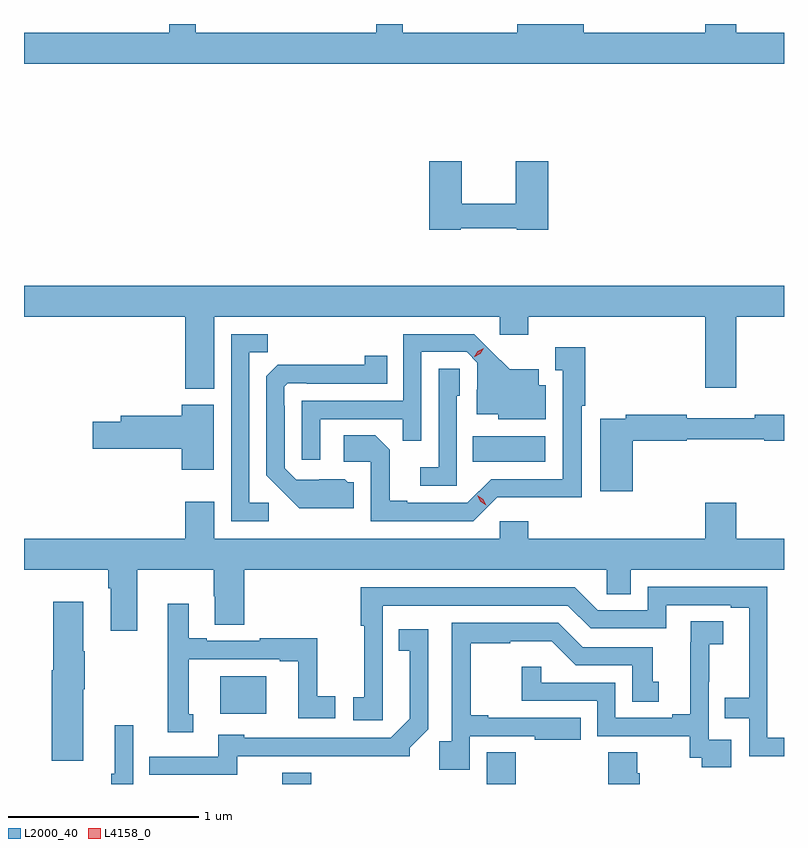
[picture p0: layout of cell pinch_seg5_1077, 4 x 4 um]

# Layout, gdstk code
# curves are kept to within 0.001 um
import gdstk
lib = gdstk.Library(unit=1e-6, precision=1e-09)
def R(c, l, rs):  # rectangles x0, y0, x1, y1
    for r in rs: c.add(gdstk.rectangle(r[:2], r[2:], *l))
def P(c, l, *ps):  # polygons
    for p in ps: c.add(gdstk.Polygon(p, *l))
L2000_40 = (2000, 40)
L4158_0 = (4158, 0)

pinch_seg5_1077 = lib.new_cell('pinch_seg5_1077')
R(pinch_seg5_1077, L2000_40, [(774.17,871.617,774.323,871.675), (775.247,871.617,775.4,871.784), (773.843,871.988,774.085,872.185), (775.174,873.314,775.555,873.448)])
P(pinch_seg5_1077, L2000_40, [(776.811,875.572),(776.56,875.572),(776.56,875.617),(776.396,875.617),(776.396,875.572),(775.756,875.572),(775.756,875.617),(775.406,875.617),(775.406,875.572),(774.805,875.572),(774.805,875.617),(774.665,875.617),(774.665,875.572),(773.715,875.572),(773.715,875.617),(773.576,875.617),(773.576,875.572),(772.811,875.572),(772.811,875.408),(776.811,875.408)],
  [(775.11,874.542),(775.404,874.542),(775.404,874.534),(775.571,874.534),(775.571,874.894),(775.4,874.894),(775.4,874.67),(775.114,874.67),(775.114,874.894),(774.944,874.894),(774.944,874.534),(775.11,874.534)],
  [(773.812,874.076),(775.314,874.076),(775.314,873.981),(775.466,873.981),(775.466,874.076),(776.396,874.076),(776.396,873.702),(776.56,873.702),(776.56,874.076),(776.811,874.076),(776.811,874.24),(772.811,874.24),(772.811,874.076),(773.66,874.076),(773.66,873.698),(773.812,873.698)],
  [(774.369,873.537),(774.805,873.537),(774.805,873.424),(774.903,873.424),(774.903,873.891),(775.14,873.891),(775.197,873.834),(775.197,873.692),(775.193,873.692),(775.193,873.563),(775.308,873.563),(775.308,873.536),(775.558,873.536),(775.558,873.715),(775.519,873.715),(775.519,873.799),(775.367,873.799),(775.18,873.984),(774.807,873.984),(774.807,873.633),(774.273,873.633),(774.273,873.324),(774.369,873.324)],
  [(774.1,873.096),(773.997,873.096),(773.997,873.889),(774.093,873.889),(774.093,873.984),(773.901,873.984),(773.901,873),(774.1,873)],
  [(775.302,873.126),(775.747,873.125),(775.747,873.607),(775.765,873.607),(775.765,873.916),(775.607,873.916),(775.607,873.795),(775.646,873.795),(775.646,873.222),(775.269,873.222),(775.143,873.096),(774.829,873.096),(774.829,873.109),(774.735,873.109),(774.735,873.376),(774.659,873.452),(774.495,873.452),(774.495,873.312),(774.636,873.312),(774.636,873),(775.176,873)],
  [(774.547,873.204),(774.516,873.204),(774.5,873.22),(774.243,873.219),(774.183,873.279),(774.183,873.608),(774.18,873.608),(774.18,873.708),(774.198,873.726),(774.298,873.726),(774.298,873.723),(774.722,873.723),(774.722,873.871),(774.604,873.871),(774.604,873.824),(774.146,873.823),(774.087,873.764),(774.087,873.242),(774.259,873.068),(774.547,873.068)],
  [(775.089,873.66),(775.104,873.66),(775.104,873.803),(774.993,873.803),(774.993,873.283),(774.897,873.283),(774.897,873.186),(775.089,873.186)],
  [(773.809,873.613),(773.642,873.613),(773.642,873.554),(773.321,873.554),(773.321,873.524),(773.172,873.524),(773.172,873.382),(773.642,873.382),(773.642,873.27),(773.809,873.27)],
  [(776.015,873.424),(776.298,873.424),(776.298,873.432),(776.708,873.432),(776.708,873.424),(776.811,873.424),(776.811,873.56),(776.656,873.56),(776.656,873.541),(776.3,873.541),(776.3,873.56),(775.978,873.56),(775.978,873.54),(775.844,873.54),(775.844,873.159),(776.015,873.159)],
  [(773.809,872.606),(773.816,872.606),(773.816,872.455),(773.969,872.455),(773.969,872.744),(775.878,872.744),(775.878,872.617),(776.005,872.617),(776.005,872.744),(776.811,872.744),(776.811,872.908),(776.56,872.908),(776.56,873.097),(776.396,873.097),(776.396,872.908),(775.466,872.908),(775.466,873.001),(775.314,873.001),(775.314,872.908),(773.812,872.908),(773.812,873.103),(773.66,873.103),(773.66,872.908),(772.811,872.908),(772.811,872.744),(773.255,872.744),(773.255,872.648),(773.267,872.648),(773.267,872.424),(773.407,872.424),(773.407,872.744),(773.809,872.744)],
  [(776.811,871.86),(776.724,871.86),(776.724,872.655),(776.094,872.655),(776.094,872.532),(775.83,872.532),(775.71,872.652),(774.583,872.652),(774.583,872.449),(774.601,872.449),(774.601,872.073),(774.543,872.073),(774.543,871.953),(774.7,871.953),(774.699,872.556),(775.674,872.556),(775.794,872.436),(776.19,872.436),(776.19,872.559),(776.531,872.559),(776.531,872.544),(776.627,872.544),(776.627,872.071),(776.5,872.071),(776.5,871.962),(776.628,871.962),(776.628,871.764),(776.811,871.764)],
  [(773.122,872.117),(773.13,872.117),(773.13,872.317),(773.122,872.317),(773.122,872.575),(772.964,872.575),(772.964,872.217),(772.958,872.217),(772.958,871.74),(773.122,871.74)],
  [(773.701,871.983),(773.677,871.983),(773.677,872.274),(774.158,872.274),(774.158,872.262),(774.254,872.262),(774.254,871.962),(774.448,871.962),(774.448,872.078),(774.354,872.078),(774.354,872.383),(774.052,872.383),(774.052,872.37),(773.773,872.37),(773.773,872.383),(773.677,872.383),(773.677,872.566),(773.567,872.566),(773.567,872.321),(773.568,872.321),(773.568,871.889),(773.701,871.889)],
  [(776.533,871.851),(776.415,871.851),(776.415,872.155),(776.417,872.155),(776.417,872.353),(776.491,872.353),(776.491,872.474),(776.32,872.474),(776.32,872.363),(776.318,872.363),(776.318,871.985),(776.222,871.985),(776.222,871.965),(775.923,871.965),(775.923,872.151),(775.533,872.151),(775.533,872.233),(775.432,872.233),(775.432,872.055),(775.827,872.055),(775.827,871.869),(776.314,871.869),(776.314,871.755),(776.377,871.755),(776.377,871.704),(776.533,871.704)],
  [(775.158,871.869),(775.499,871.869),(775.499,871.85),(775.742,871.85),(775.742,871.965),(775.255,871.965),(775.255,871.978),(775.163,871.978),(775.163,872.358),(775.37,872.358),(775.37,872.369),(775.588,872.369),(775.716,872.241),(776.012,872.241),(776.012,872.05),(776.152,872.05),(776.152,872.154),(776.119,872.154),(776.119,872.337),(775.752,872.337),(775.623,872.466),(775.062,872.466),(775.062,871.843),(774.997,871.843),(774.997,871.692),(775.158,871.692)],
  [(773.934,871.764),(774.84,871.763),(774.84,871.807),(774.939,871.906),(774.939,872.431),(774.784,872.431),(774.784,872.318),(774.842,872.318),(774.842,871.961),(774.741,871.86),(773.97,871.86),(773.97,871.876),(773.834,871.876),(773.834,871.761),(773.47,871.761),(773.47,871.665),(773.934,871.665)],
  [(773.385,871.927),(773.288,871.927),(773.288,871.672),(773.269,871.672),(773.269,871.617),(773.385,871.617)],
  [(776.051,871.674),(776.038,871.674),(776.038,871.784),(775.886,871.784),(775.886,871.617),(776.051,871.617)])
P(pinch_seg5_1077, L4158_0, [(775.182,873.865),(775.182,873.866),(775.199,873.895),(775.23,873.911),(775.23,873.911),(775.23,873.91),(775.213,873.881),(775.183,873.865)],
  [(775.245,873.084),(775.214,873.103),(775.196,873.136),(775.196,873.136),(775.197,873.136),(775.228,873.117),(775.245,873.084),(775.245,873.084)])

lib.write_gds('pinch_seg5_1077.gds')
